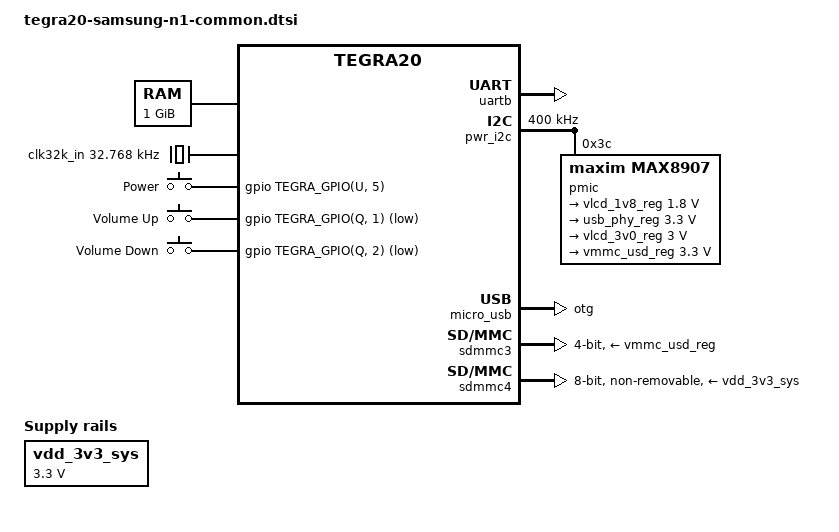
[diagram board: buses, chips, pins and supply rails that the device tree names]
// SPDX-License-Identifier: GPL-2.0

#include <dt-bindings/input/input.h>
#include "tegra20.dtsi"

/ {
	chosen {
		stdout-path = &uartb;
	};

	aliases {
		i2c0 = &pwr_i2c;

		mmc0 = &sdmmc4; /* eMMC */
		mmc1 = &sdmmc3; /* uSD slot */

		rtc0 = &pmic;
		rtc1 = "/rtc@7000e000";

		usb0 = &micro_usb;
	};

	memory {
		device_type = "memory";
		reg = <0x00000000 0x40000000>; /* 1 GB */
	};

	pinmux@70000014 {
		pinctrl-names = "default";
		pinctrl-0 = <&state_default>;

		state_default: pinmux {
			ata {
				nvidia,pins = "ata", "atc", "atd", "ate",
					      "gmb", "gmd", "irrx", "irtx",
					      "spid", "spie";
				nvidia,function = "gmi";
			};

			atb {
				nvidia,pins = "atb", "gma", "gme";
				nvidia,function = "sdio4";
			};

			cdev1 {
				nvidia,pins = "cdev1";
				nvidia,function = "plla_out";
			};

			cdev2 {
				nvidia,pins = "cdev2";
				nvidia,function = "pllp_out4";
			};

			crtp {
				nvidia,pins = "crtp";
				nvidia,function = "crt";
			};

			csus {
				nvidia,pins = "csus";
				nvidia,function = "vi_sensor_clk";
			};

			dap1 {
				nvidia,pins = "dap1";
				nvidia,function = "dap1";
			};

			dap2 {
				nvidia,pins = "dap2";
				nvidia,function = "dap2";
			};

			dap3 {
				nvidia,pins = "dap3";
				nvidia,function = "dap3";
			};

			dap4 {
				nvidia,pins = "dap4";
				nvidia,function = "dap4";
			};

			ddc {
				nvidia,pins = "ddc";
				nvidia,function = "rsvd4";
			};

			pta {
				nvidia,pins = "pta";
				nvidia,function = "i2c2";
			};

			spif {
				nvidia,pins = "spif", "uac";
				nvidia,function = "rsvd4";
			};

			dta {
				nvidia,pins = "dta", "dtb", "dtc", "dtd", "dte";
				nvidia,function = "vi";
			};

			dtf {
				nvidia,pins = "dtf";
				nvidia,function = "i2c3";
			};

			gmc {
				nvidia,pins = "gmc";
				nvidia,function = "uartd";
			};

			gpu {
				nvidia,pins = "gpu", "uaa", "uab";
				nvidia,function = "uarta";
			};

			gpu7 {
				nvidia,pins = "gpu7";
				nvidia,function = "rtck";
			};

			gpv {
				nvidia,pins = "gpv", "slxa", "slxk";
				nvidia,function = "pcie";
			};

			hdint {
				nvidia,pins = "hdint", "spdi", "spdo";
				nvidia,function = "rsvd2";
			};

			i2cp {
				nvidia,pins = "i2cp";
				nvidia,function = "i2cp";
			};

			kbca {
				nvidia,pins = "kbca", "kbcb", "kbcc", "kbcd",
					      "kbce", "kbcf";
				nvidia,function = "kbc";
			};

			lcsn {
				nvidia,pins = "lcsn", "lsck", "lsda", "lsdi";
				nvidia,function = "spi3";
			};

			ld0 {
				nvidia,pins = "ld0", "ld1", "ld2", "ld3", "ld4",
					      "ld5", "ld6", "ld7", "ld8", "ld9",
					      "ld10", "ld11", "ld12", "ld13", "ld14",
					      "ld15", "ld16", "ld17", "ldc", "ldi",
					      "lhp0", "lhp1", "lhp2", "lhs", "lm0",
					      "lm1", "lpp", "lpw0", "lpw1", "lpw2",
					      "lsc0", "lsc1", "lspi", "lvp0", "lvp1",
					      "lvs";
				nvidia,function = "displaya";
			};

			owc {
				nvidia,pins = "owc";
				nvidia,function = "owr";
			};

			pmc {
				nvidia,pins = "pmc";
				nvidia,function = "pwr_on";
			};

			rm {
				nvidia,pins = "rm";
				nvidia,function = "i2c1";
			};

			sdb {
				nvidia,pins = "sdb", "sdc", "sdd";
				nvidia,function = "sdio3";
			};

			sdio1 {
				nvidia,pins = "sdio1";
				nvidia,function = "sdio1";
			};

			slxc {
				nvidia,pins = "slxc", "slxd";
				nvidia,function = "spi4";
			};

			spig {
				nvidia,pins = "spig", "spih";
				nvidia,function = "spi2_alt";
			};

			uad {
				nvidia,pins = "uad";
				nvidia,function = "irda";
			};

			uca {
				nvidia,pins = "uca", "ucb";
				nvidia,function = "uartc";
			};

			uda {
				nvidia,pins = "uda";
				nvidia,function = "spi1";
			};

			spia {
				nvidia,pins = "spia", "spib", "spic";
				nvidia,function = "spi2";
			};

			conf-cdev1 {
				nvidia,pins = "cdev1", "cdev2", "dap1", "dap2",
					      "dap3", "dap4", "ddc", "dte", "gma",
					      "gmc", "gmd", "gme", "gpu7", "hdint",
					      "i2cp", "lcsn", "lhs", "lm0", "lm1",
					      "lpw1", "lsc0", "lsck", "lsda", "lsdi",
					      "lspi", "lvs", "pmc", "pta", "rm",
					      "sdb", "sdio1", "uac", "uda", "ck32",
					      "ddrc", "pmca", "pmcb", "pmcc", "pmcd",
					      "xm2c", "xm2d";
				nvidia,pull = <TEGRA_PIN_PULL_NONE>;
				nvidia,tristate = <TEGRA_PIN_DISABLE>;
			};

			conf-crtp {
				nvidia,pins = "crtp", "lvp0";
				nvidia,pull = <TEGRA_PIN_PULL_NONE>;
				nvidia,tristate = <TEGRA_PIN_ENABLE>;
			};

			conf-csus {
				nvidia,pins = "csus", "spid";
				nvidia,pull = <TEGRA_PIN_PULL_DOWN>;
				nvidia,tristate = <TEGRA_PIN_ENABLE>;
			};

			conf-ata {
				nvidia,pins = "ata", "atb", "atc", "ate",
					      "gmb", "gpu", "irrx", "irtx",
					      "kbca", "kbcc", "kbce", "kbcf",
					      "ldc", "lpw0", "lpw2", "lsc1", "sdc",
					      "sdd", "spig", "uaa", "uab",
					      "uad", "uca", "ucb", "pmce";
				nvidia,pull = <TEGRA_PIN_PULL_UP>;
				nvidia,tristate = <TEGRA_PIN_DISABLE>;
			};

			conf-owc {
				nvidia,pins = "owc";
				nvidia,pull = <TEGRA_PIN_PULL_UP>;
				nvidia,tristate = <TEGRA_PIN_ENABLE>;
			};

			conf-atd {
				nvidia,pins = "atd", "dta", "dtb", "dtc", "dtd",
					      "kbcb", "ld0", "ld1", "ld10", "ld11",
					      "ld12", "ld13", "ld14", "ld15", "ld16",
					      "ld17", "ld2", "ld3", "ld4", "ld5",
					      "ld6", "ld7", "ld8", "ld9", "ldi",
					      "lhp0", "lhp1", "lhp2", "lpp", "lvp1",
					      "slxa", "slxc", "slxd", "slxk", "spdo",
					      "spia", "spic", "spie", "spif";
				nvidia,pull = <TEGRA_PIN_PULL_DOWN>;
				nvidia,tristate = <TEGRA_PIN_DISABLE>;
			};

			drive-ao1 {
				nvidia,pins = "drive_ao1", "drive_at1", "drive_dbg",
					      "drive_vi1", "drive_vi2";
				nvidia,high-speed-mode = <TEGRA_PIN_DISABLE>;
				nvidia,schmitt = <TEGRA_PIN_ENABLE>;
				nvidia,low-power-mode = <TEGRA_PIN_LP_DRIVE_DIV_1>;
				nvidia,pull-down-strength = <31>;
				nvidia,pull-up-strength = <31>;
				nvidia,slew-rate-rising = <TEGRA_PIN_SLEW_RATE_SLOWEST>;
				nvidia,slew-rate-falling = <TEGRA_PIN_SLEW_RATE_SLOWEST>;
			};

			drive-sdio1 {
				nvidia,pins = "drive_sdio1";
				nvidia,high-speed-mode = <TEGRA_PIN_DISABLE>;
				nvidia,schmitt = <TEGRA_PIN_ENABLE>;
				nvidia,low-power-mode = <TEGRA_PIN_LP_DRIVE_DIV_1>;
				nvidia,pull-down-strength = <31>;
				nvidia,pull-up-strength = <31>;
				nvidia,slew-rate-rising = <TEGRA_PIN_SLEW_RATE_SLOWEST>;
				nvidia,slew-rate-falling = <TEGRA_PIN_SLEW_RATE_SLOWEST>;
			};

			drive-ddc {
				nvidia,pins = "drive_ddc";
				nvidia,high-speed-mode = <TEGRA_PIN_DISABLE>;
				nvidia,schmitt = <TEGRA_PIN_ENABLE>;
				nvidia,low-power-mode = <TEGRA_PIN_LP_DRIVE_DIV_1>;
				nvidia,pull-down-strength = <31>;
				nvidia,pull-up-strength = <31>;
				nvidia,slew-rate-rising = <TEGRA_PIN_SLEW_RATE_FASTEST>;
				nvidia,slew-rate-falling = <TEGRA_PIN_SLEW_RATE_FASTEST>;
			};
		};
	};

	uartb: serial@70006040 {
		clocks = <&tegra_car 7>;
		status = "okay";
	};

	pwr_i2c: i2c@7000d000 {
		status = "okay";
		clock-frequency = <400000>;

		pmic: max8907@3c {
			compatible = "maxim,max8907";
			reg = <0x3c>;

			interrupts = <GIC_SPI 86 IRQ_TYPE_LEVEL_HIGH>;
			#interrupt-cells = <2>;
			interrupt-controller;

			#gpio-cells = <2>;
			gpio-controller;

			maxim,system-power-controller;

			regulators {
				vlcd_1v8_reg: ldo3 {
					regulator-name = "vlcd_1v8";
					regulator-min-microvolt = <1800000>;
					regulator-max-microvolt = <1800000>;
					regulator-always-on;
					regulator-boot-on;
				};

				usb_phy_reg: ldo4 {
					regulator-name = "vap_usb_3v3";
					regulator-min-microvolt = <3300000>;
					regulator-max-microvolt = <3300000>;
					regulator-always-on;
					regulator-boot-on;
				};

				vlcd_3v0_reg: ldo12 {
					regulator-name = "vlcd_3v0";
					regulator-min-microvolt = <3000000>;
					regulator-max-microvolt = <3000000>;
				};

				vmmc_usd_reg: ldo16 {
					regulator-name = "vmmc_usd";
					regulator-min-microvolt = <3300000>;
					regulator-max-microvolt = <3300000>;
				};
			};
		};
	};

	micro_usb: usb@c5000000 {
		status = "okay";
		dr_mode = "otg";
	};

	usb-phy@c5000000 {
		status = "okay";
		vbus-supply = <&usb_phy_reg>;
	};

	sdmmc3: sdhci@c8000400 {
		status = "okay";
		bus-width = <4>;

		vmmc-supply = <&vmmc_usd_reg>;
		vqmmc-supply = <&vdd_3v3_sys>;
	};

	sdmmc4: sdhci@c8000600 {
		status = "okay";
		bus-width = <8>;
		non-removable;

		vmmc-supply = <&vdd_3v3_sys>;
		vqmmc-supply = <&vdd_3v3_sys>;
	};

	/* 32KHz oscillator which is used by PMC */
	clk32k_in: clock-32k-in {
		compatible = "fixed-clock";
		#clock-cells = <0>;
		clock-frequency = <32768>;
		clock-output-names = "ref-oscillator";
	};

	gpio-keys {
		compatible = "gpio-keys";

		key-power {
			label = "Power";
			gpios = <&gpio TEGRA_GPIO(U, 5) GPIO_ACTIVE_HIGH>;
			linux,code = <KEY_ENTER>;
		};

		key-volume-up {
			label = "Volume Up";
			gpios = <&gpio TEGRA_GPIO(Q, 1) GPIO_ACTIVE_LOW>;
			linux,code = <KEY_UP>;
		};

		key-volume-down {
			label = "Volume Down";
			gpios = <&gpio TEGRA_GPIO(Q, 2) GPIO_ACTIVE_LOW>;
			linux,code = <KEY_DOWN>;
		};
	};

	vdd_3v3_sys: regulator-3v3 {
		compatible = "regulator-fixed";
		regulator-name = "vdd_3v3_vs";
		regulator-min-microvolt = <3300000>;
		regulator-max-microvolt = <3300000>;
		regulator-always-on;
	};
};
